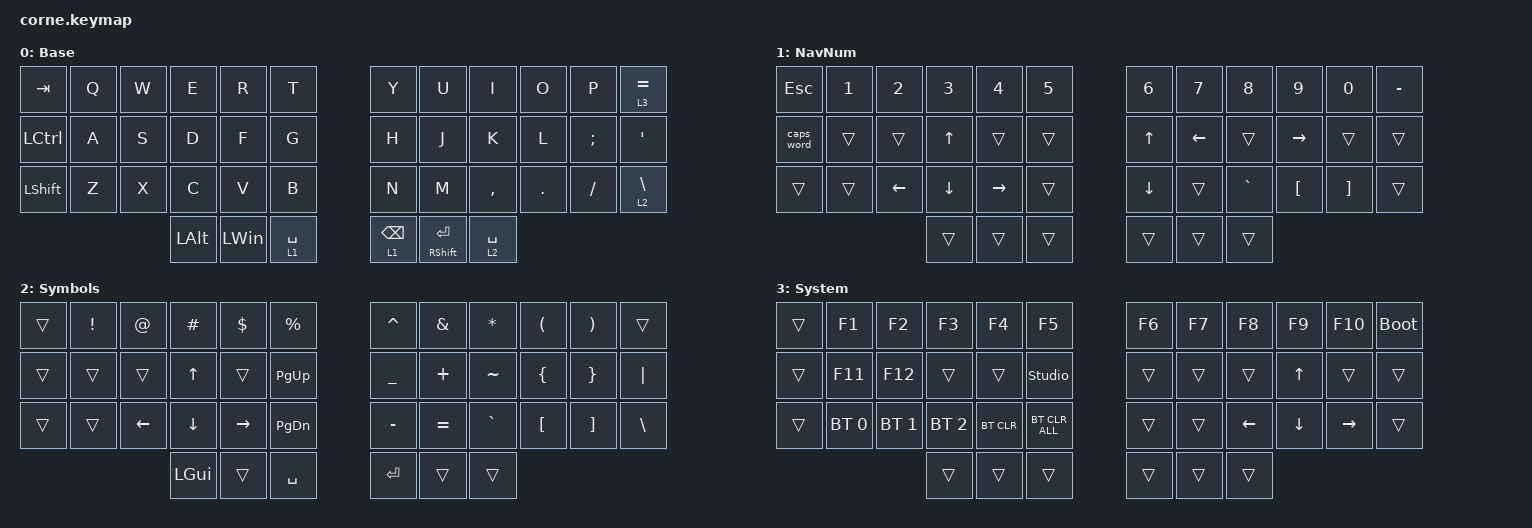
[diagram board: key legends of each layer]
#include <behaviors.dtsi>
#include <dt-bindings/zmk/bt.h>
#include <dt-bindings/zmk/keys.h>

#define DEF 0
#define NAV 1
#define SYM 2
#define ADJ 3
#define EXTRA 4

/ {
    behaviors {
        hm: homerow_mods {
            compatible = "zmk,behavior-hold-tap";
            label = "HOMEROW_MODS";
            #binding-cells = <2>;
            tapping-term-ms = <300>;
            quick_tap_ms = <0>;
            flavor = "tap-preferred";
            bindings = <&kp>, <&kp>;

            quick-tap-ms = <180>;
            global-quick-tap;
        };

        para: para {
            compatible = "zmk,behavior-tap-dance";
            label = "PARA";
            #binding-cells = <0>;
            bindings = <&kp LEFT_PARENTHESIS>, <&kp RIGHT_PARENTHESIS>;
        };

        caps: caps {
            compatible = "zmk,behavior-caps-word";
            label = "CAPS";
            #binding-cells = <0>;
            continue-list = <MINUS BACKSPACE>;
        };

        paraless: paraless {
            compatible = "zmk,behavior-mod-morph";
            label = "PARALESS";
            bindings = <&kp LEFT_PARENTHESIS>, <&kp LESS_THAN>;

            #binding-cells = <0>;
            mods = <(MOD_LSFT)>;
        };

        paragreat: paragreat {
            compatible = "zmk,behavior-mod-morph";
            label = "PARAGREAT";
            bindings = <&kp RIGHT_PARENTHESIS>, <&kp GREATER_THAN>;

            #binding-cells = <0>;
            mods = <(MOD_LSFT)>;
        };
    };

    combos { compatible = "zmk,combos"; };

    //

    keymap {
        compatible = "zmk,keymap";

        DEF {
            display-name = "Base";

            // -----------------------------------------------------------------------------------------
            // |  Q  |  W  |  E  |  R  |  T  |   |  Y  |  U   |  I  |  O  |  P  |
            // |  A  |  S  |  D  |  F  |  G  |   |  H  |  J   |  K  |  L  |  ;  |
            // |  Z  |  X  |  C  |  V  |  B  |   |  N  |  M   |  ,  |  .  |  /  |
            // | GUI | CTRL | SHFT | LWR | SPC |   | ENT | RSE  | BKSP | ALT | ESC |

            bindings = <
&kp TAB         &kp Q  &kp W  &kp E         &kp R         &kp T          &kp Y            &kp U                  &kp I        &kp O    &kp P     &lt 3 EQUAL
&kp LCTRL       &kp A  &kp S  &kp D         &kp F         &kp G          &kp H            &kp J                  &kp K        &kp L    &kp SEMI  &kp SQT
&kp LEFT_SHIFT  &kp Z  &kp X  &kp C         &kp V         &kp B          &kp N            &kp M                  &kp COMMA    &kp DOT  &kp FSLH  &lt 2 BACKSLASH
                              &kp LEFT_ALT  &kp LEFT_WIN  &lt 1 SPACE    &lt 1 BACKSPACE  &mt RIGHT_SHIFT ENTER  &lt 2 SPACE
            >;
        };

        NAV {
            display-name = "NavNum";

            // -----------------------------------------------------------------------------------------
            // |  TAB |  1  |  2  |  3  |  4  |  5  |   |  6  |  7  |  8  |  9  |  0  | BKSP |
            // | BTCLR| BT1 | BT2 | BT3 | BT4 | BT5 |   | LFT | DWN |  UP | RGT |     |      |
            // | SHFT |     |     |     |     |     |   |     |     |     |     |     |      |
            // | GUI | CTRL | SHFT | LWR | SPC |   | ENT | RSE  | BKSP | ALT | ESC |

            bindings = <
&kp ESCAPE  &kp N1  &kp N2    &kp N3    &kp N4     &kp N5    &kp N6    &kp N7    &kp N8     &kp N9            &kp N0             &kp MINUS
&caps_word  &trans  &trans    &kp UP    &trans     &trans    &kp UP    &kp LEFT  &trans     &kp RIGHT         &trans             &trans
&trans      &trans  &kp LEFT  &kp DOWN  &kp RIGHT  &trans    &kp DOWN  &trans    &kp GRAVE  &kp LEFT_BRACKET  &kp RIGHT_BRACKET  &trans
                              &trans    &trans     &trans    &trans    &trans    &trans
            >;
        };

        SYM {
            display-name = "Symbols";

            // -----------------------------------------------------------------------------------------
            // |  TAB |  !  |  @  |  #  |  $  |  %  |   |  ^  |  &  |  *  |  (  |  )  | BKSP |
            // | CTRL |     |     |     |     |     |   |  -  |  =  |  [  |  ]  |  \  |  `   |
            // | SHFT |     |     |     |     |     |   |  _  |  +  |  {  |  }  | "|" |  ~   |
            //                    | GUI |     | SPC |   | ENT |     | ALT |

            bindings = <
&trans  &kp EXCL  &kp AT          &kp HASH        &kp DLLR         &kp PRCNT        &kp CARET       &kp AMPS   &kp ASTRK  &kp LEFT_PARENTHESIS  &kp RPAR           &trans
&trans  &trans    &trans          &kp UP_ARROW    &trans           &kp PAGE_UP      &kp UNDERSCORE  &kp PLUS   &kp TILDE  &kp LEFT_BRACE        &kp RIGHT_BRACE    &kp PIPE
&trans  &trans    &kp LEFT_ARROW  &kp DOWN_ARROW  &kp RIGHT_ARROW  &kp PAGE_DOWN    &kp MINUS       &kp EQUAL  &kp GRAVE  &kp LEFT_BRACKET      &kp RIGHT_BRACKET  &kp BACKSLASH
                                  &kp LGUI        &trans           &kp SPACE        &kp RET         &trans     &trans
            >;
        };

        ADJ {
            display-name = "System";
            bindings = <
&trans  &kp F1        &kp F2        &kp F3        &kp F4      &kp F5            &kp F6  &kp F7  &kp F8    &kp F9    &kp F10    &bootloader
&trans  &kp F11       &kp F12       &trans        &trans      &studio_unlock    &trans  &trans  &trans    &kp UP    &trans     &trans
&trans  &bt BT_SEL 0  &bt BT_SEL 1  &bt BT_SEL 2  &bt BT_CLR  &bt BT_CLR_ALL    &trans  &trans  &kp LEFT  &kp DOWN  &kp RIGHT  &trans
                                    &trans        &trans      &trans            &trans  &trans  &trans
            >;
        };
    };

    conditional_layers { compatible = "zmk,conditional-layers"; };
};
